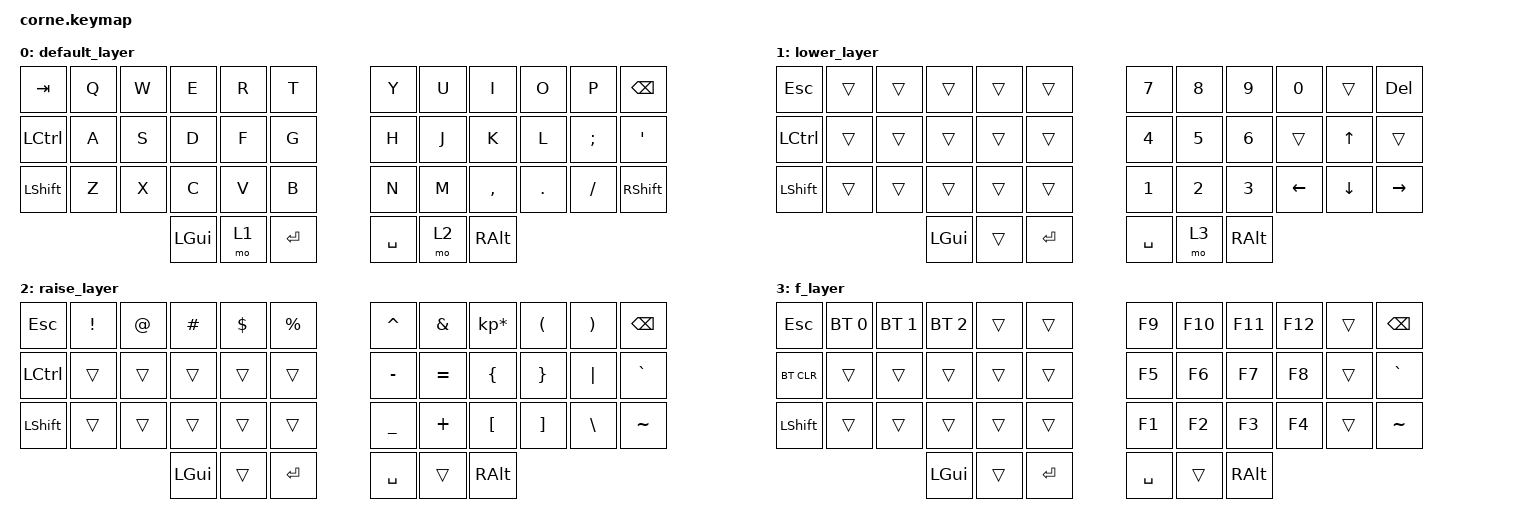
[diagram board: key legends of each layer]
/*
 * Copyright (c) 2020 The ZMK Contributors
 *
 * SPDX-License-Identifier: MIT
 */

#include <behaviors.dtsi>
#include <dt-bindings/zmk/keys.h>
#include <dt-bindings/zmk/bt.h>

/ {
    keymap {
      compatible = "zmk,keymap";

      default_layer {
        // -----------------------------------------------------------------------------------------
        // |  TAB |  Q  |  W  |  E  |  R  |  T  |   |  Y  |  U   |  I  |  O  |  P  | BKSP |
        // | CTRL |  A  |  S  |  D  |  F  |  G  |   |  H  |  J   |  K  |  L  |  ;  |  '   |
        // | SHFT |  Z  |  X  |  C  |  V  |  B  |   |  N  |  M   |  ,  |  .  |  /  | SHFT |
        //                    | GUI | LWR | ENT |   | SPC | RSE  | ALT |
        bindings = <
        &kp TAB   &kp Q &kp W &kp E    &kp R &kp T     &kp Y     &kp U  &kp I     &kp O   &kp P    &kp BSPC
        &kp LCTRL &kp A &kp S &kp D    &kp F &kp G     &kp H     &kp J  &kp K     &kp L   &kp SEMI &kp SQT
        &kp LSHFT &kp Z &kp X &kp C    &kp V &kp B     &kp N     &kp M  &kp COMMA &kp DOT &kp FSLH &kp RSHFT
                              &kp LGUI &mo 1 &kp RET   &kp SPACE &mo 2  &kp RALT
        >;
      };

      lower_layer { // Mode 1
        // -----------------------------------------------------------------------------------------
        // |  ESC |     |     |     |     |     |   |  7  |  8  |  9  |  0  |     | DEL |
        // | CTRL |     |     |     |     |     |   |  4  |  5  |  6  |     |  UP |     |
        // | SHFT |     |     |     |     |     |   |  1  |  2  |  3  | LFT | DWN | RGT |
        //                    | GUI |     | ENT |   | SPC | L3  | ALT |
        bindings = <
        &kp ESC    &trans &trans &trans    &trans &trans    &kp N7    &kp N8   &kp N9   &kp N0    &trans   &kp DEL
        &kp LCTRL  &trans &trans &trans    &trans &trans    &kp N4    &kp N5   &kp N6   &trans    &kp UP   &trans
        &kp LSHFT  &trans &trans &trans    &trans &trans    &kp N1    &kp N2   &kp N3   &kp LEFT  &kp DOWN &kp RIGHT
                                 &kp LGUI  &trans &kp RET   &kp SPACE &mo 3    &kp RALT
        >;
      };

      raise_layer { // Mode 2
        // -----------------------------------------------------------------------------------------
        // |  ESC |  !  |  @  |  #  |  $  |  %  |   |  ^  |  &  |  *  |  (  |  )  | BKSP |
        // | CTRL |     |     |     |     |     |   |  -  |  =  |  {  |  }  | "|" |  `   |
        // | SHFT |     |     |     |     |     |   |  _  |  +  |  [  |  ]  |  \  |  ~   |
        //                    | GUI |     | ENT |   | SPC |     | ALT |
        bindings = <
        &kp ESC   &kp EXCL  &kp AT  &kp HASH  &kp DLLR  &kp PRCNT   &kp CARET  &kp AMPS  &kp KP_MULTIPLY &kp LPAR &kp RPAR &kp BSPC
        &kp LCTRL &trans    &trans  &trans    &trans    &trans      &kp MINUS  &kp EQUAL &kp LBRC        &kp RBRC &kp PIPE &kp GRAVE
        &kp LSHFT &trans    &trans  &trans    &trans    &trans      &kp UNDER  &kp PLUS  &kp LBKT        &kp RBKT &kp BSLH &kp TILDE
                                    &kp LGUI  &trans    &kp RET     &kp SPACE  &trans    &kp RALT
        >;
      };

      f_layer { // Mode 3
        // -----------------------------------------------------------------------------------------
        // |  ESC | BT1 | BT2 | BT3 |     |     |   | F9  | F10 | F11 | F12 |     | BKSP |
        // | BTCLR|     |     |     |     |     |   | F5  | F6  | F7  | F8  |     |      |
        // | SHFT |     |     |     |     |     |   | F1  | F2  | F3  | F4  |     |      |
        //                    | GUI |     | ENT |   | SPC |     | ALT |
        bindings = <
        &kp  ESC   &bt BT_SEL 0 &bt BT_SEL 1  &bt BT_SEL 2 &trans   &trans      &kp F9 &kp F10 &kp F11 &kp F12 &trans &kp BSPC
        &bt BT_CLR &trans       &trans        &trans       &trans   &trans      &kp F5 &kp F6  &kp F7  &kp F8  &trans &kp GRAVE
        &kp LSHFT  &trans       &trans        &trans       &trans   &trans      &kp F1 &kp F2  &kp F3  &kp F4  &trans &kp TILDE
                                &kp LGUI      &trans       &kp RET  &kp SPACE   &trans &kp RALT
        >;
      };
    };
};
